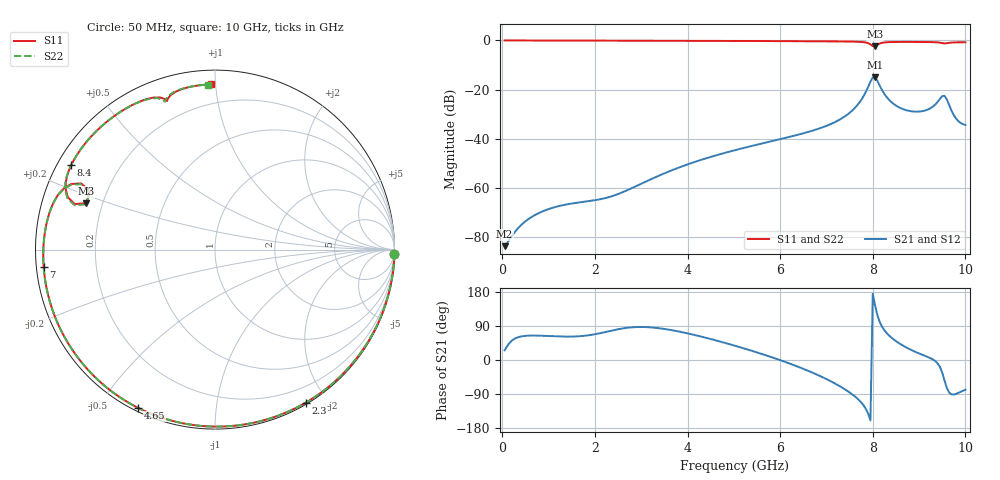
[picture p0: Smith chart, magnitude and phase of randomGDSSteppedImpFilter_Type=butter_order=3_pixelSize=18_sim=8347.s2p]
! freq	dB(S11)	phase(S11)	dB(S12)	phase(S12)
!  dB(S21)	phase(S21)	dB(S22)	phase(S22)
!S-par simulation data
#  GHz  S  DB  R 50
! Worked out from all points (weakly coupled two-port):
!   200 points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, 50 MHz to 10 GHz, reference 50 ohm
!   highest |S21| = -14.97 dB at 8.05 GHz (marker M1); lowest = -83.6 dB at 50 MHz (marker M2)
!   lowest |S11| = -2.3 dB at 8.05 GHz (marker M3), VSWR 7.46, Z = 6.9 + j8.57 ohm
!   |S11| at or under -10 dB: nowhere
!   |S22| runs from -2.4 to 0.0 dB; largest |S21 - S12| = 0
!   S11 on the Smith chart (normalised r, x): 50 MHz: 0, -86; 2.3 GHz: 0.02, -1.75; 4.65 GHz: 0.01, -0.63; 7 GHz: 0.02, -0.05; 8.4 GHz: 0.04, +0.27; 10 GHz: 0.08, +0.97
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0.05  -0.00 -1.3  -83.65 25.6  -83.65 25.6  -0.00 -1.3
0.2  -0.00 -5.3  -79.69 50.6  -79.69 50.6  -0.00 -5.3
0.5  -0.01 -13.2  -73.54 63.7  -73.54 63.7  -0.01 -13.2
0.85  -0.03 -22.4  -69.65 64.0  -69.65 64.0  -0.03 -22.4
1.75  -0.06 -45.5  -65.65 63.6  -65.65 63.6  -0.06 -45.6
2.3  -0.08 -59.4  -63.72 75.8  -63.72 75.8  -0.08 -59.4
3.4  -0.11 -86.3  -54.83 83.7  -54.83 83.7  -0.11 -86.3
4.65  -0.17 -116.0  -46.53 50.5  -46.53 50.5  -0.17 -115.9
5.05  -0.19 -125.4  -44.49 36.7  -44.49 36.7  -0.19 -125.4
6.7  -0.33 -166.1  -36.67 -33.5  -36.67 -33.5  -0.32 -166.0
7  -0.36 -174.2  -34.72 -50.4  -34.72 -50.4  -0.36 -174.0
7.6  -0.49 167.8  -27.69 -94.8  -27.69 -94.8  -0.48 168.1
7.9  -1.11 155.5  -18.89 -141.4  -18.89 -141.4  -1.11 155.7
8.05  -2.34 160.2  -14.97 144.0  -14.97 144.0  -2.37 160.6
8.15  -1.22 160.5  -18.38 100.3  -18.38 100.3  -1.23 161.0
8.35  -0.67 151.6  -24.11 64.8  -24.11 64.8  -0.67 152.1
8.4  -0.64 149.6  -25.03 59.3  -25.03 59.3  -0.64 150.1
8.7  -0.59 138.6  -28.23 34.7  -28.23 34.7  -0.59 139.1
9.05  -0.62 125.8  -28.81 14.7  -28.81 14.7  -0.61 126.5
9.55  -1.21 107.9  -22.52 -54.4  -22.52 -54.4  -1.21 108.7
9.8  -0.76 99.8  -31.81 -89.3  -31.81 -89.3  -0.76 100.7
10  -0.72 91.5  -34.37 -78.3  -34.37 -78.3  -0.72 92.4
